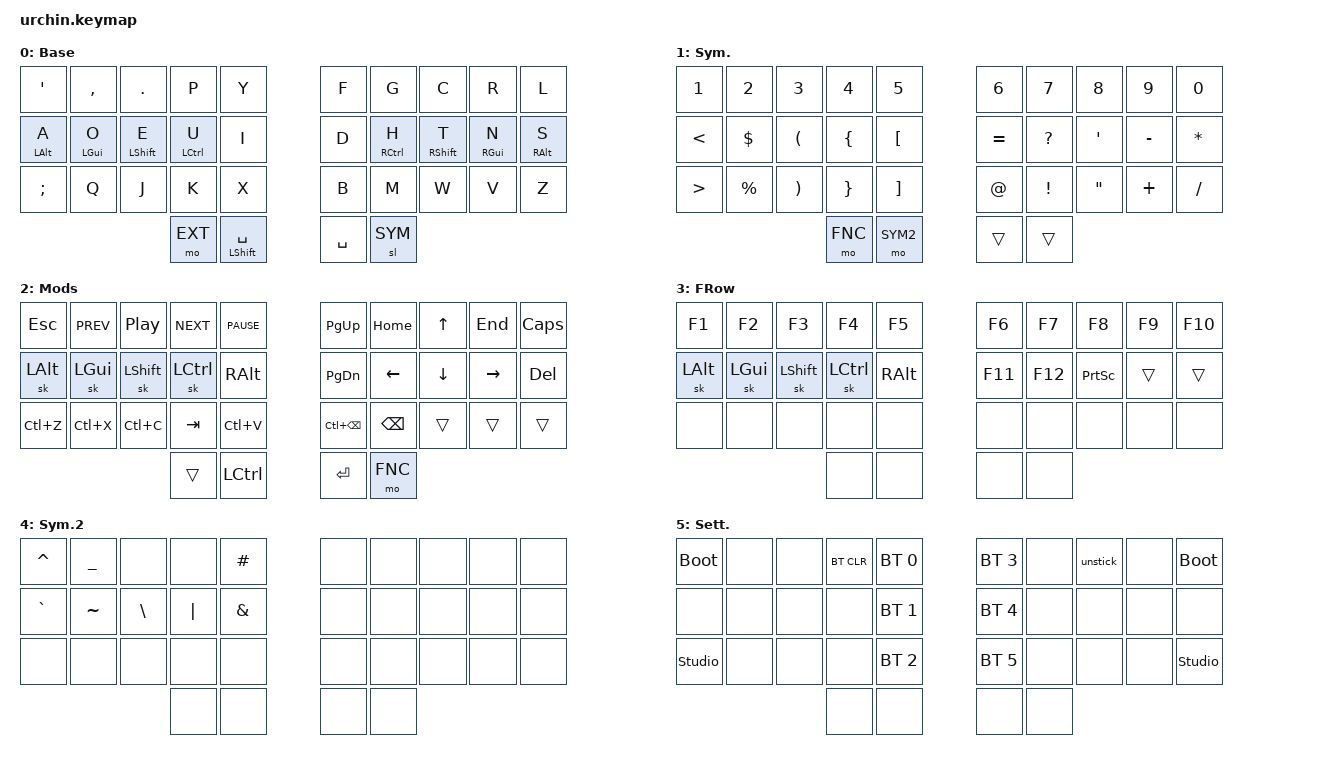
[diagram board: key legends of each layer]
/*
 * Copyright (c) 2020 duckyb
 *
 * SPDX-License-Identifier: MIT
 */

#include <behaviors.dtsi>
#include <dt-bindings/zmk/keys.h>
#include <dt-bindings/zmk/bt.h>
#include <dt-bindings/zmk/outputs.h>

// Layer definitions
#define BASE 0
#define SYM 1
#define EXT 2
#define FNC 3
#define SYM2 4
#define SETTINGS 5
// -----------------

// Key positions
#define LT0  4  // left-top row
#define LT1  3
#define LT2  2
#define LT3  1
#define LT4  0

#define RT0  5  // right-top row
#define RT1  6
#define RT2  7
#define RT3  8
#define RT4  9

#define LM0 14  // left-middle row
#define LM1 13
#define LM2 12
#define LM3 11
#define LM4 10

#define RM0 15  // right-middle row
#define RM1 16
#define RM2 17
#define RM3 18
#define RM4 19

#define LB0 24  // left-bottom row
#define LB1 23
#define LB2 22
#define LB3 21
#define LB4 20

#define RB0 25  // right-bottom row
#define RB1 26
#define RB2 27
#define RB3 28
#define RB4 29

#define LH0 31  // left thumb keys
#define LH1 30

#define RH0 32  // right thumb keys
#define RH1 33

#define KEYS_L LT0 LT1 LT2 LT3 LT4 LM0 LM1 LM2 LM3 LM4 LB0 LB1 LB2 LB3 LB4  // Left-hand keys.
#define KEYS_R RT0 RT1 RT2 RT3 RT4 RM0 RM1 RM2 RM3 RM4 RB0 RB1 RB2 RB3 RB4  // Right-hand keys.
#define THUMBS LH1 LH0 RH0 RH1                                              // Thumb keys.


&sk {
	// don't release mods on other mods presses
	ignore-modifiers;
};

/ {
	behaviors {
		// Enables holding the first mod-tap key
		// by performing a tap-release-hold sequence.
		// To use it: "&qt KEYCODE1 KEYCODE2"
		qt: quick_tap {
			compatible = "zmk,behavior-hold-tap";
			label = "QUICK_TAP";
			#binding-cells = <2>;
			flavor = "balanced";
			tapping-term-ms = <200>;
			quick-tap-ms = <200>;
			bindings = <&kp>, <&kp>;
		};
		lhrm: lhrm {
			compatible = "zmk,behavior-hold-tap";
			label = "LHRM";
			#binding-cells = <2>;
			flavor = "balanced";
			tapping-term-ms = <280>;
			quick-tap-ms = <175>;
			require-prior-idle-ms = <150>;
			bindings = <&kp>, <&kp>;
			hold-trigger-key-positions = <KEYS_R THUMBS>;
			hold-trigger-on-release;
		};
		rhrm: rhrm {
			compatible = "zmk,behavior-hold-tap";
			label = "RHRM";
			#binding-cells = <2>;
			flavor = "balanced";
			tapping-term-ms = <280>;
			quick-tap-ms = <175>;
			require-prior-idle-ms = <150>;
			bindings = <&kp>, <&kp>;
			hold-trigger-key-positions = <KEYS_L THUMBS>;
			hold-trigger-on-release;
		};
	};

	macros {
		// sometimes my device thinks a modifier is being held down
		// pressing all modifiers fixes it.
		unstick: unstick {
			label = "ZM_unstick";
			compatible = "zmk,behavior-macro";
			#binding-cells = <0>;
			bindings = <&kp LSHIFT &kp RSHIFT &kp LCTRL &kp RCTRL &kp LALT &kp RALT &kp LGUI &kp RGUI>;
		};
	};

	combos {
		compatible = "zmk,combos";
		// internal-left & external-right thumb keys
		combo_sym2 {
			timeout-ms = <200>;
			key-positions = <31 33>;
			bindings = <&mo SYM2>;
		};
		// both left thumb keys
		combo_settings {
			timeout-ms = <200>;
			key-positions = <30 31>;
			bindings = <&mo SETTINGS>;
		};
		// left index & middle fingers (home-row)
		// hold control & space for Adobe workflow
		combo_ctrl_space {
			timeout-ms = <200>;
			key-positions = <12 13>;
			bindings = <&kp LC(SPACE)>;
			layers = <BASE>;
		};
	};

	keymap {
		compatible = "zmk,keymap";
		// Base alpha layer
		default_layer {
			label = "Base";
			bindings = <
			&kp SQT &kp COMMA &kp DOT &kp P &kp Y           &kp F &kp G  &kp C     &kp R   &kp L 
			&lhrm LALT A &lhrm LGUI O &lhrm LSHIFT E &lhrm LCTRL U &kp I           &kp D &rhrm RCTRL H  &rhrm RSHIFT T     &rhrm RGUI N &rhrm RALT S
			&kp SEMI &kp Q &kp J &kp K &kp X           &kp B &kp M  &kp W &kp V &kp Z
							&mo EXT &qt LSHIFT SPACE           &kp SPACE &sl SYM
			>;
		};

		// Numbers and high frequency symbols
		sym_layer {
			label = "Sym.";
			bindings = <
			&kp N1 &kp N2 &kp N3 &kp N4 &kp N5		                                    &kp N6 &kp N7 &kp N8 &kp N9 &kp N0
			&kp LT &kp DLLR &kp LPAR &kp LBRC &kp LBKT  &kp EQUAL &kp QMARK &kp SQT &kp MINUS &kp STAR
			&kp GT &kp PRCNT &kp RPAR &kp RBRC &kp RBKT 	&kp AT &kp EXCL &kp DQT &kp PLUS &kp FSLH
														&mo FNC  &mo SYM2       &trans &trans
			>;
		};

		// Main modifiers and arrow keys
		ext_layer {
			label = "Mods";
			bindings = <
			&kp ESC  &kp C_PREV &kp C_PP  &kp C_NEXT  &kp C_PAUSE    	&kp PG_UP  &kp HOME &kp UP &kp END &kp CAPS
			&sk LALT &sk LGUI  &sk LSHIFT  &sk LCTRL  &kp RALT 			&kp PG_DN &kp LEFT  &kp DOWN  &kp RIGHT   &kp DEL
			&kp LC(Z)  &kp LC(X) &kp LC(C) &kp TAB   &kp LC(V)          &kp LC(BSPC) &kp BSPC &trans &trans  &trans
																		&trans &kp LCTRL    &kp ENTER  &mo FNC 
			>;
		};

		// Function keys with modifiers
		fnc_layer {
			label = "FRow";
			bindings = <
			&kp F1 &kp F2 &kp F3 &kp F4 &kp F5                  &kp F6 &kp F7 &kp F8 &kp F9 &kp F10 
			&sk LALT &sk LGUI &sk LSHIFT &sk LCTRL &kp RALT     &kp F11 &kp F12  &kp PRINTSCREEN &trans &trans
			&none &none &none &none &none				          &none &none &none &none &none 
							  &none &none              &none &none  
			>;
		};

		// Low frequency symbols.
		symbols_2_layer {
			label = "Sym.2";
			bindings = <
			&kp CARET &kp UNDER &none &none &kp HASH         &none &none &none &none &none 
			&kp GRAVE &kp TILDE &kp BSLH &kp PIPE &kp AMPS         &none &none &none &none &none
			&none 			&none 			 &none &none &none				  &none &none &none &none &none
																	&none &none        	&none &none 
			>;
		};

		// Used to change the keyboard's settings.
		settings_layer {
				label = "Sett.";
				bindings = <
				&bootloader &none &none &bt BT_CLR &bt BT_SEL 0               &bt BT_SEL 3 &none &unstick &none &bootloader 
				&none &none &none &none      &bt BT_SEL 1 						  &bt BT_SEL 4 &none &none &none &none
				&studio_unlock &none &none &none      &bt BT_SEL 2               &bt BT_SEL 5 &none &none &none &studio_unlock
										&none &none                         &none &none 
				>;
		};
	};
};
